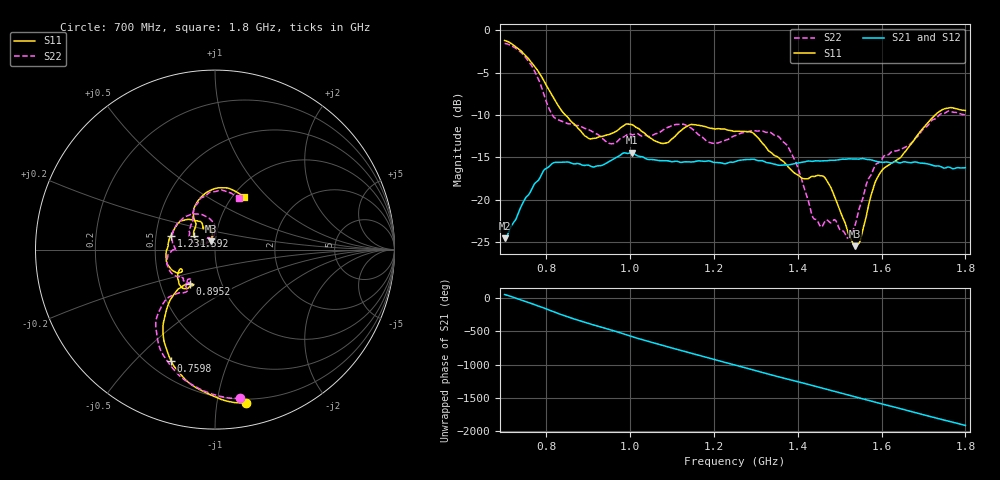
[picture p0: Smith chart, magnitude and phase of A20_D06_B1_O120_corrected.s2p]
! Created with skrf 1.9.0 (http://scikit-rf.org).
# Hz S RI R 50.0
!freq ReS11 ImS11 ReS21 ImS21 ReS12 ImS12 ReS22 ImS22
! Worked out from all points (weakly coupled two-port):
!   1601 points, 700 MHz to 1.8 GHz, reference 50 ohm
!   highest |S21| = -14.45 dB at 1.003 GHz (marker M1); lowest = -24.5 dB at 700 MHz (marker M2)
!   lowest |S11| = -25.5 dB at 1.536 GHz (marker M3), VSWR 1.11, Z = 47.4 + j4.46 ohm
!   |S11| at or under -10 dB: 845.6 MHz to 1.728 GHz (881.9 MHz wide, 68.6 % of centre)
!   |S22| runs from -24.5 to -1.5 dB; largest |S21 - S12| = 0.0034
!   S11 on the Smith chart (normalised r, x): 700 MHz: 0.17, -1.21; 759.8 MHz: 0.29, -0.64; 895.2 MHz: 0.71, -0.29; 1.234 GHz: 0.60, +0.10; 1.592 GHz: 0.78, +0.12; 1.8 GHz: 1.12, +0.75
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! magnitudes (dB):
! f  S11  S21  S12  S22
! 700 MHz  -1.2  -24.5  -24.3  -1.5
! 759.8 MHz  -3.5  -19.2  -19.1  -3.8
! 816.2 MHz  -7.9  -15.6  -15.7  -10.2
! 883.6 MHz  -12.0  -15.9  -15.8  -11.4
! 895.2 MHz  -12.6  -15.9  -16.0  -11.6
! 953.7 MHz  -12.2  -15.4  -15.4  -13.4
! 1.003 GHz  -11.1  -14.4  -14.6  -12.3
! 1.067 GHz  -13.2  -15.4  -15.3  -12.1
! 1.145 GHz  -11.1  -15.5  -15.5  -11.5
! 1.234 GHz  -11.8  -15.6  -15.6  -12.8
! 1.25 GHz  -11.9  -15.5  -15.4  -12.4
! 1.357 GHz  -15.2  -15.9  -15.9  -12.7
! 1.396 GHz  -17.0  -15.7  -15.7  -15.7
! 1.434 GHz  -17.2  -15.5  -15.4  -21.8
! 1.47 GHz  -17.8  -15.4  -15.4  -22.4
! 1.52 GHz  -23.8  -15.2  -15.2  -24.5
! 1.536 GHz  -25.5  -15.2  -15.2  -23.1
! 1.55 GHz  -24.7  -15.2  -15.2  -20.6
! 1.592 GHz  -17.2  -15.5  -15.5  -15.7
! 1.617 GHz  -15.9  -15.6  -15.5  -14.6
! 1.737 GHz  -9.6  -16.0  -16.1  -10.0
! 1.8 GHz  -9.5  -16.2  -16.2  -10.0
